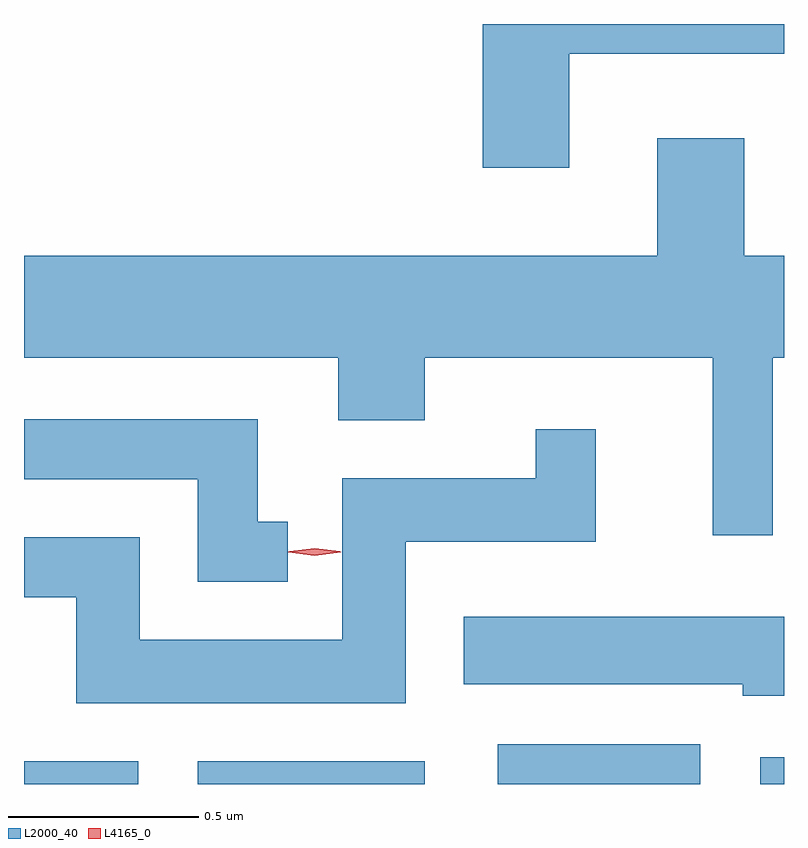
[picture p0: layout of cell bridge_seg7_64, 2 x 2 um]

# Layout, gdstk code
import gdstk
lib = gdstk.Library(unit=1e-6, precision=1e-09)
def R(c, l, rs):  # rectangles x0, y0, x1, y1
    for r in rs: c.add(gdstk.rectangle(r[:2], r[2:], *l))
def P(c, l, *ps):  # polygons
    for p in ps: c.add(gdstk.Polygon(p, *l))
L2000_40 = (2000, 40)
L4165_0 = (4165, 0)

bridge_seg7_64 = lib.new_cell('bridge_seg7_64')
R(bridge_seg7_64, L2000_40, [(1569.424,1770.914,1569.724,1770.974), (1569.881,1770.914,1570.479,1770.974), (1570.671,1770.914,1571.204,1771.019), (1571.361,1770.914,1571.424,1770.984)])
P(bridge_seg7_64, L2000_40, [(1570.859,1772.836),(1571.424,1772.836),(1571.424,1772.914),(1570.631,1772.914),(1570.631,1772.536),(1570.859,1772.536)],
  [(1571.394,1772.036),(1571.424,1772.036),(1571.424,1772.304),(1571.319,1772.304),(1571.319,1772.614),(1571.091,1772.614),(1571.091,1772.304),(1569.424,1772.304),(1569.424,1772.036),(1570.251,1772.036),(1570.251,1771.871),(1570.479,1771.871),(1570.479,1772.036),(1571.236,1772.036),(1571.236,1771.568),(1571.394,1771.568)],
  [(1570.118,1771.604),(1570.039,1771.604),(1570.039,1771.874),(1569.424,1771.874),(1569.424,1771.716),(1569.881,1771.716),(1569.881,1771.446),(1570.118,1771.446)],
  [(1570.429,1771.551),(1570.929,1771.551),(1570.929,1771.848),(1570.771,1771.848),(1570.771,1771.719),(1570.261,1771.719),(1570.261,1771.294),(1569.729,1771.294),(1569.729,1771.564),(1569.424,1771.564),(1569.424,1771.406),(1569.561,1771.406),(1569.561,1771.126),(1570.429,1771.126)],
  [(1571.424,1771.354),(1570.581,1771.354),(1570.581,1771.176),(1571.316,1771.176),(1571.316,1771.146),(1571.424,1771.146)])
P(bridge_seg7_64, L4165_0, [(1570.189,1771.515),(1570.12,1771.524),(1570.119,1771.525),(1570.12,1771.525),(1570.189,1771.535),(1570.258,1771.525),(1570.258,1771.525),(1570.258,1771.524)],
  [(1570.189,1771.515),(1570.123,1771.525),(1570.122,1771.525),(1570.123,1771.526),(1570.189,1771.535),(1570.255,1771.526),(1570.256,1771.525),(1570.255,1771.525)])

lib.write_gds('bridge_seg7_64.gds')
